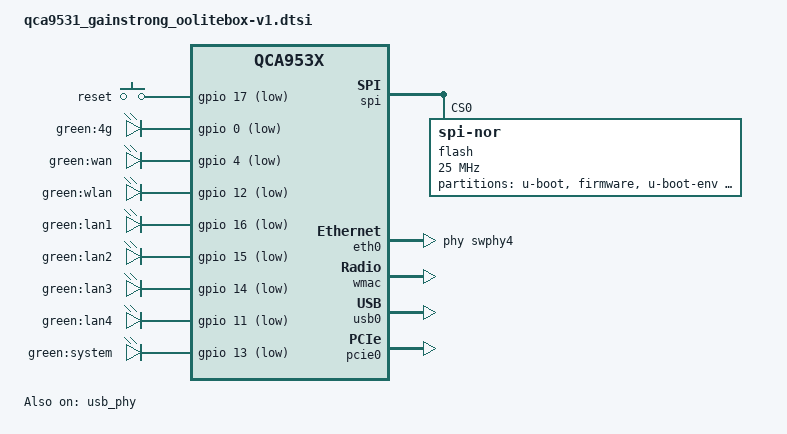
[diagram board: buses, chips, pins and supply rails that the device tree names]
#include "qca953x.dtsi"
#include <dt-bindings/gpio/gpio.h>
#include <dt-bindings/input/input.h>

/ {
	aliases {
		label-mac-device = &wmac;
		led-boot = &led_system;
		led-failsafe = &led_system;
		led-upgrade = &led_system;
	};

	keys: keys {
		compatible = "gpio-keys";

		reset {
			label = "reset";
			linux,code = <KEY_RESTART>;
			gpios = <&gpio 17 GPIO_ACTIVE_LOW>;
			debounce-interval = <60>;
		};
	};

	leds {
		compatible = "gpio-leds";

		4g {
			label = "green:4g";
			gpios = <&gpio 0 GPIO_ACTIVE_LOW>;
		};
	
		wan {
			label = "green:wan";
			gpios = <&gpio 4 GPIO_ACTIVE_LOW>;
		};

		wlan {
			label = "green:wlan";
			gpios = <&gpio 12 GPIO_ACTIVE_LOW>;
			linux,default-trigger = "phy0tpt";
		};

		lan1 {
			label = "green:lan1";
			gpios = <&gpio 16 GPIO_ACTIVE_LOW>;
		};

		lan2 {
			label = "green:lan2";
			gpios = <&gpio 15 GPIO_ACTIVE_LOW>;
		};

		lan3 {
			label = "green:lan3";
			gpios = <&gpio 14 GPIO_ACTIVE_LOW>;
		};

		lan4 {
			label = "green:lan4";
			gpios = <&gpio 11 GPIO_ACTIVE_LOW>;
		};

		led_system: system {
			label = "green:system";
			gpios = <&gpio 13 GPIO_ACTIVE_LOW>;
			default-state = "on";
		};
	};

};

&spi {
	status = "okay";

	flash@0 {
		compatible = "jedec,spi-nor";
		reg = <0>;
		spi-max-frequency = <25000000>;

		partitions: partitions {
			compatible = "fixed-partitions";
			#address-cells = <1>;
			#size-cells = <1>;

			partition@0 {
				label = "u-boot";
				reg = <0x0 0x20000>;
				read-only;
			};

			firmware: partition@20000 {
				compatible = "tplink,firmware";
				label = "firmware";
				reg = <0x20000 0xfc0000>;
			};

			ubootenv: partition@fe0000 {
				label = "u-boot-env";
				reg = <0xfe0000 0x10000>;
			};

			art: partition@ff0000 {
				label = "art";
				reg = <0xff0000 0x010000>;
				read-only;
			};
		};
	};
};

&art {
	compatible = "nvmem-cells";
	#address-cells = <1>;
	#size-cells = <1>;

	macaddr_art_1002: macaddr@1002 {
		reg = <0x1002 0x6>;
	};
};

&eth0 {
	status = "okay";

	phy-handle = <&swphy4>;

	nvmem-cells = <&macaddr_art_1002>;
	nvmem-cell-names = "mac-address";
	mac-address-increment = <2>;
};

&eth1 {
	nvmem-cells = <&macaddr_art_1002>;
	nvmem-cell-names = "mac-address";
	mac-address-increment = <1>;
};

&wmac {
	status = "okay";
	mtd-cal-data = <&art 0x1000>;
};

&usb_phy {
	status = "okay";
};

&usb0 {
	status = "okay";
};

&pcie0 {
	status = "okay";
};
